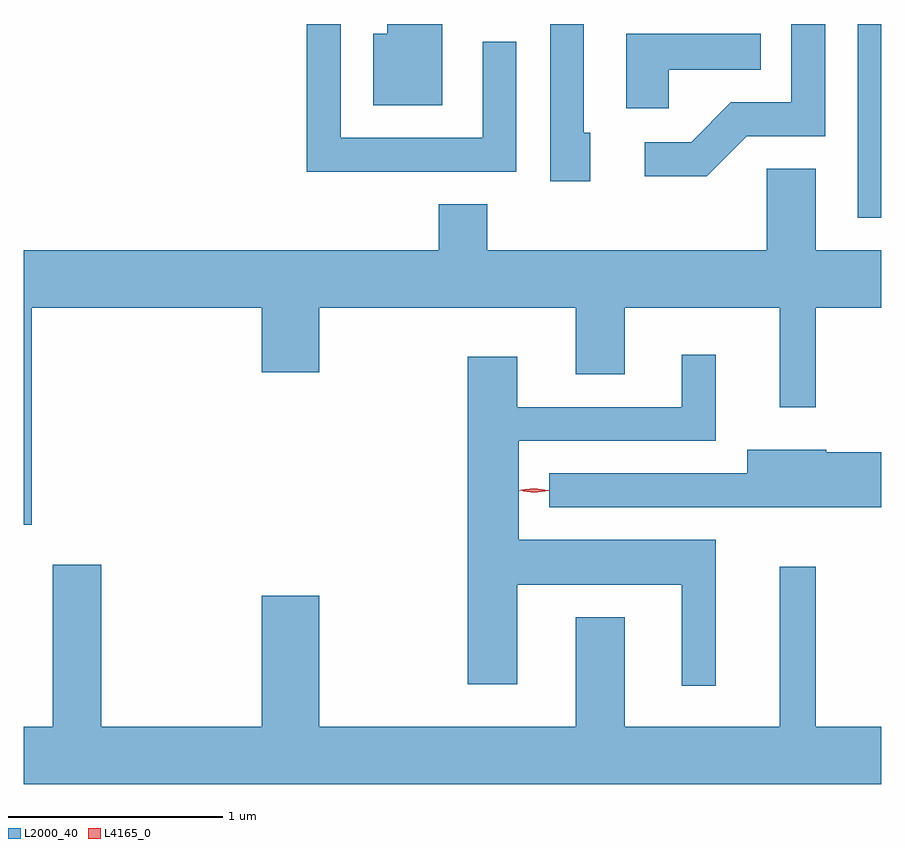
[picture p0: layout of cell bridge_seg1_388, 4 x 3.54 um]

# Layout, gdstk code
import gdstk
lib = gdstk.Library(unit=1e-6, precision=1e-09)
def R(c, l, rs):  # rectangles x0, y0, x1, y1
    for r in rs: c.add(gdstk.rectangle(r[:2], r[2:], *l))
def P(c, l, *ps):  # polygons
    for p in ps: c.add(gdstk.Polygon(p, *l))
L2000_40 = (2000, 40)
L4165_0 = (4165, 0)

bridge_seg1_388 = lib.new_cell('bridge_seg1_388')
R(bridge_seg1_388, L2000_40, [(597.476,944.396,597.586,945.3)])
P(bridge_seg1_388, L2000_40, [(595.884,945.218),(595.726,945.218),(595.726,944.769),(595.064,944.769),(595.064,945.3),(594.906,945.3),(594.906,944.611),(595.884,944.611)],
  [(595.539,945.3),(595.281,945.3),(595.281,945.254),(595.216,945.254),(595.216,944.921),(595.539,944.921)],
  [(596.229,944.794),(596.199,944.794),(596.199,945.3),(596.041,945.3),(596.041,944.566),(596.229,944.566)],
  [(596.957,944.776),(597.324,944.776),(597.324,945.3),(597.166,945.3),(597.166,944.934),(596.884,944.934),(596.699,944.749),(596.483,944.749),(596.483,944.591),(596.772,944.591)],
  [(596.594,945.086),(597.023,945.086),(597.023,945.254),(596.396,945.254),(596.396,944.906),(596.594,944.906)],
  [(595.749,944.459),(595.521,944.459),(595.521,944.244),(593.586,944.244),(593.586,942.966),(593.624,942.966),(593.624,943.976),(594.696,943.976),(594.696,943.676),(594.964,943.676),(594.964,943.976),(596.161,943.976),(596.161,943.666),(596.389,943.666),(596.389,943.976),(597.111,943.976),(597.111,943.513),(597.279,943.513),(597.279,943.976),(597.586,943.976),(597.586,944.244),(597.279,944.244),(597.279,944.624),(597.051,944.624),(597.051,944.244),(595.749,944.244)],
  [(596.814,942.894),(595.894,942.894),(595.894,943.356),(596.814,943.356),(596.814,943.758),(596.656,943.758),(596.656,943.514),(595.889,943.514),(595.889,943.749),(595.656,943.749),(595.656,942.221),(595.889,942.221),(595.889,942.686),(596.656,942.686),(596.656,942.213),(596.814,942.213)],
  [(597.586,943.304),(597.33,943.304),(597.33,943.314),(596.961,943.314),(596.961,943.204),(596.038,943.204),(596.038,943.046),(597.586,943.046)],
  [(597.586,942.024),(597.279,942.024),(597.279,942.768),(597.111,942.768),(597.111,942.024),(596.389,942.024),(596.389,942.534),(596.161,942.534),(596.161,942.024),(594.964,942.024),(594.964,942.634),(594.696,942.634),(594.696,942.024),(593.949,942.024),(593.949,942.779),(593.721,942.779),(593.721,942.024),(593.586,942.024),(593.586,941.756),(597.586,941.756)])
P(bridge_seg1_388, L4165_0, [(595.967,943.114),(595.898,943.123),(595.897,943.124),(595.898,943.124),(595.967,943.134),(596.036,943.124),(596.036,943.124),(596.036,943.123)],
  [(595.966,943.116),(595.901,943.127),(595.9,943.128),(595.901,943.128),(595.967,943.136),(596.032,943.126),(596.033,943.125),(596.032,943.125)])

lib.write_gds('bridge_seg1_388.gds')
